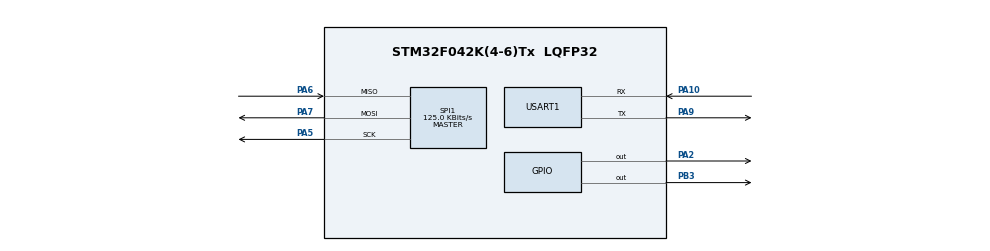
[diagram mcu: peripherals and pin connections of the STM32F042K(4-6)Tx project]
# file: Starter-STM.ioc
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Mcu.Family=STM32F0
Mcu.Name=STM32F042K(4-6)Tx
Mcu.Package=LQFP32
PA10.Mode=Asynchronous
PA10.Signal=USART1_RX
PA2.GPIO_Speed=GPIO_SPEED_FREQ_HIGH
PA2.PinState=GPIO_PIN_SET
PA2.Signal=GPIO_Output
PA5.Mode=Full_Duplex_Master
PA5.Signal=SPI1_SCK
PA6.Mode=Full_Duplex_Master
PA6.Signal=SPI1_MISO
PA7.Mode=Full_Duplex_Master
PA7.Signal=SPI1_MOSI
PA9.Mode=Asynchronous
PA9.Signal=USART1_TX
PB3.GPIO_Speed=GPIO_SPEED_FREQ_HIGH
PB3.PinState=GPIO_PIN_SET
PB3.Signal=GPIO_Output
ProjectManager.HeapSize=0x200
ProjectManager.StackSize=0x400
ProjectManager.TargetToolchain=Makefile
SPI1.BaudRatePrescaler=SPI_BAUDRATEPRESCALER_64
SPI1.CLKPhase=SPI_PHASE_2EDGE
SPI1.CLKPolarity=SPI_POLARITY_HIGH
SPI1.CalculateBaudRate=125.0 KBits/s
SPI1.DataSize=SPI_DATASIZE_8BIT
SPI1.Direction=SPI_DIRECTION_2LINES
SPI1.FirstBit=SPI_FIRSTBIT_MSB
SPI1.Mode=SPI_MODE_MASTER
SPI1.VirtualType=VM_MASTER
USART1.VirtualMode-Asynchronous=VM_ASYNC
board=custom

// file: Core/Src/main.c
/* USER CODE BEGIN Header */
/**
 ******************************************************************************
 * @file           : main.c
 * @brief          : Main program body
 ******************************************************************************
 * @attention
 *
 * Copyright (c) 2024 STMicroelectronics.
 * All rights reserved.
 *
 * This software is licensed under terms that can be found in the LICENSE file
 * in the root directory of this software component.
 * If no LICENSE file comes with this software, it is provided AS-IS.
 *
 ******************************************************************************
 */
/* USER CODE END Header */
#include "main.h"
#include "gpio.h"
#include "spi.h"
#include "stm32f0xx_hal_gpio.h"
#include "stm32f0xx_hal_spi.h"
#include "usart.h"

/* USER CODE BEGIN Includes */
#include <stdio.h>
#include <string.h>

/* USER CODE END Includes */

/* USER CODE BEGIN PD */

// Accelerometer and gyroscope control registers
#define LSM6DSL_CTRL1_XL 0x10
#define LSM6DSL_CTRL2_G 0x11
#define LSM6DSL_CTRL3_C 0x12
#define LSM6DSL_CTRL4_C 0x13
#define LSM6DSL_CTRL5_C 0x14
#define LSM6DSL_CTRL6_C 0x15
#define LSM6DSL_CTRL7_G 0x16
#define LSM6DSL_CTRL8_XL 0x17
#define LSM6DSL_CTRL9_XL 0x18
#define LSM6DSL_CTRL10_C 0x19

// Sensitivity conversions
// Angular Velocity (DPS) = Raw data * Sensitivity
// Ex:
// full scale range of 125, each raw unit corresponds to 4.375 DPS
// if we read 15, Angular Velocity = 15 * 4.375 = 65.625 DPS
#define LSM6DSL_GYRO_SENSITIVITY_FS_125DPS 4.375f
#define LSM6DSL_GYRO_SENSITIVITY_FS_250DPS 8.750f
#define LSM6DSL_GYRO_SENSITIVITY_FS_500DPS 17.500f
#define LSM6DSL_GYRO_SENSITIVITY_FS_1000DPS 35.000f
#define LSM6DSL_GYRO_SENSITIVITY_FS_2000DPS 70.000f

// Gyroscope output registers
#define LSM6DSL_OUTX_L_G 0x22
#define LSM6DSL_OUTX_H_G 0x23
#define LSM6DSL_OUTY_L_G 0x24
#define LSM6DSL_OUTY_H_G 0x25
#define LSM6DSL_OUTZ_L_G 0x26
#define LSM6DSL_OUTZ_H_G 0x27

/* USER CODE END PD */

/* USER CODE BEGIN PV */
// Full Scale Range configuration paramaters
// sets the degrees per second range we can acquire
typedef enum {
  LSM6DSL_250dps = 0,
  LSM6DSL_125dps = 1,
  LSM6DSL_500dps = 2,
  LSM6DSL_1000dps = 4,
  LSM6DSL_2000dps = 6
} lsm6dsl_fs_g_t;

// Output Data Rate configuration paramaters
// frequency at which the gyroscope outputs data (Hz)
typedef enum {
  LSM6DSL_GY_ODR_OFF = 0,
  LSM6DSL_GY_ODR_12Hz5 = 1,
  LSM6DSL_GY_ODR_26Hz = 2,
  LSM6DSL_GY_ODR_52Hz = 3,
  LSM6DSL_GY_ODR_104Hz = 4,
  LSM6DSL_GY_ODR_208Hz = 5,
  LSM6DSL_GY_ODR_416Hz = 6,
  LSM6DSL_GY_ODR_833Hz = 7,
  LSM6DSL_GY_ODR_1k66Hz = 8,
  LSM6DSL_GY_ODR_3k33Hz = 9,
  LSM6DSL_GY_ODR_6k66Hz = 10
} lsm6dsl_odr_g_t;

// Packed Raw Data
typedef union {
  uint8_t bytes[6];

  struct __attribute__((packed)) // ensure no padding
  {
    int16_t x;
    int16_t y;
    int16_t z;
  };
} LSM6DSL_AxesRaw_t;

// 3 axis data (post processing)
typedef struct {
  int32_t x;
  int32_t y;
  int32_t z;
} LSM6DSL_Axes_t;

/* USER CODE END PV */

void SystemClock_Config(void);
/* USER CODE BEGIN PFP */
void lsm6_read(uint8_t address, uint8_t *rxData);
void lsm6_write(uint8_t address, uint8_t *txData);
void lsm6_init();
void lsm6_readGyro(LSM6DSL_AxesRaw_t *axes);

/* USER CODE END PFP */

/* USER CODE BEGIN 0 */
void lsm6_read(uint8_t address, uint8_t *rxData) {
  uint8_t DataSize = 2;
  uint8_t TxData[] = {address | 0x80, 0};
  uint8_t RxData[] = {0, 0};

  HAL_GPIO_WritePin(GPIOA, GPIO_PIN_2, GPIO_PIN_RESET);
  HAL_SPI_TransmitReceive(&hspi1, TxData, RxData, DataSize, 10000);
  HAL_GPIO_WritePin(GPIOA, GPIO_PIN_2, GPIO_PIN_SET);

  *rxData = RxData[1];
}

void lsm6_write(uint8_t address, uint8_t *txData) {
  uint8_t DataSize = 2;
  uint8_t TxData[] = {address, *txData};

  HAL_GPIO_WritePin(GPIOA, GPIO_PIN_2, GPIO_PIN_RESET);
  HAL_SPI_Transmit(&hspi1, TxData, DataSize, 10000);
  HAL_GPIO_WritePin(GPIOA, GPIO_PIN_2, GPIO_PIN_SET);
}

void lsm6_init() {
  uint8_t data = 0;

  // Important registers:
  // CTRL2_G (11h)
  // ODR_G[7:4] Output Data Rate
  // FS_G[3:2] Full-Scale Selection
  // FS_125[1:1] Full scale == 125 dps
  // NULL [0:0] set zero
  data = (0b0011<< 4) | (0b11<< 2 | 0b00);
  lsm6_write((0x11), &data);

  // CTRL7_G (16h)
  // [7:7]  set to 0 to enable high performance mode
  // [6:6]  set to 1 to enable high-pass filter
  // [5:4]  high-pass filter cutoff frequency
  // [3:3]  digital hp filter reset  (0: disabled)
  // [2:2]  rounding function enable (0: disabled)
  // [1:0]  leave 0

  // filter table:
  // 00 - 0.0081 hz
  // 01 - 0.0324 hz
  // 10 - 2.07 hz
  // 11 - 16.32 hz

  data = (0b0 << 7) | (0b1 << 6) | (0b11 << 4) | 0b0000;
  lsm6_write((0x16),&data);

}

void lsm6_readGyro_RAW(LSM6DSL_AxesRaw_t *axes) {
  uint8_t addr[] = {0x22 | 0x80, 0, 0x23 | 0x80, 0, 0x24 | 0x80, 0,
                    0x25 | 0x80, 0, 0x26 | 0x80, 0, 0x27 | 0x80, 0};

  // gyro is addr 0x22 - 0x27
  // we want to continously read addr 0x22 - 0x27
  HAL_GPIO_WritePin(GPIOA, GPIO_PIN_2, GPIO_PIN_RESET);
  HAL_SPI_TransmitReceive(&hspi1, addr, (uint8_t*)axes, 12, 10000);
  HAL_GPIO_WritePin(GPIOA, GPIO_PIN_2, GPIO_PIN_SET);

}

/* USER CODE END 0 */

int main(void) {

  /* MCU Configuration--------------------------------------------------------*/

  /* Reset of all peripherals, Initializes the Flash interface and the Systick.
   */
  HAL_Init();

  /* Configure the system clock */
  SystemClock_Config();

  /* Initialize all configured peripherals */
  MX_GPIO_Init();
  MX_USART1_UART_Init();
  MX_SPI1_Init();

  /* Infinite loop */
  /* USER CODE BEGIN WHILE */

  // SPI serial message
  uint8_t UARTmsg[50];

  // spi package
  uint8_t addr;
  uint8_t txData;
  uint8_t rxData;

  HAL_StatusTypeDef status;
  lsm6_init();

  LSM6DSL_AxesRaw_t gyro_raw;

  while (1) {

    // read WHO_AM_I
    // addr = 0x0F;
    // lsm6_read(addr, &rxData);

    lsm6_readGyro_RAW(&gyro_raw);

    // snprintf((char *)SPImsg, sizeof(SPImsg), "WHO_AM_I: 0x%x\n\r", rxData);

    snprintf((char *)UARTmsg, sizeof(UARTmsg), "%i %i %i\n\r", gyro_raw.x, gyro_raw.y, gyro_raw.z);

    HAL_UART_Transmit(&huart1, (uint8_t *)UARTmsg, strlen((char *)UARTmsg), 200);

    HAL_GPIO_TogglePin(GPIOB, GPIO_PIN_3);

    HAL_Delay(100);
    /* USER CODE END WHILE */

  }
}

void SystemClock_Config(void) {
  RCC_OscInitTypeDef RCC_OscInitStruct = {0};
  RCC_ClkInitTypeDef RCC_ClkInitStruct = {0};
  RCC_PeriphCLKInitTypeDef PeriphClkInit = {0};

  /** Initializes the RCC Oscillators according to the specified parameters
   * in the RCC_OscInitTypeDef structure.
   */
  RCC_OscInitStruct.OscillatorType = RCC_OSCILLATORTYPE_HSI;
  RCC_OscInitStruct.HSIState = RCC_HSI_ON;
  RCC_OscInitStruct.HSICalibrationValue = RCC_HSICALIBRATION_DEFAULT;
  RCC_OscInitStruct.PLL.PLLState = RCC_PLL_NONE;
  if (HAL_RCC_OscConfig(&RCC_OscInitStruct) != HAL_OK) {
    Error_Handler();
  }

  /** Initializes the CPU, AHB and APB buses clocks
   */
  RCC_ClkInitStruct.ClockType =
      RCC_CLOCKTYPE_HCLK | RCC_CLOCKTYPE_SYSCLK | RCC_CLOCKTYPE_PCLK1;
  RCC_ClkInitStruct.SYSCLKSource = RCC_SYSCLKSOURCE_HSI;
  RCC_ClkInitStruct.AHBCLKDivider = RCC_SYSCLK_DIV1;
  RCC_ClkInitStruct.APB1CLKDivider = RCC_HCLK_DIV1;

  if (HAL_RCC_ClockConfig(&RCC_ClkInitStruct, FLASH_LATENCY_0) != HAL_OK) {
    Error_Handler();
  }
  PeriphClkInit.PeriphClockSelection = RCC_PERIPHCLK_USART1;
  PeriphClkInit.Usart1ClockSelection = RCC_USART1CLKSOURCE_PCLK1;
  if (HAL_RCCEx_PeriphCLKConfig(&PeriphClkInit) != HAL_OK) {
    Error_Handler();
  }
}

void Error_Handler(void) {
  __disable_irq();
  while (1) {
  }
}

#ifdef USE_FULL_ASSERT
/**
 * @brief  Reports the name of the source file and the source line number
 *         where the assert_param error has occurred.
 * @param  file: pointer to the source file name
 * @param  line: assert_param error line source number
 * @retval None
 */
void assert_failed(uint8_t *file, uint32_t line) {
  /* USER CODE BEGIN 6 */
  /* User can add his own implementation to report the file name and line
     number, ex: printf("Wrong parameters value: file %s on line %d\r\n", file,
     line) */
  /* USER CODE END 6 */
}
#endif /* USE_FULL_ASSERT */
